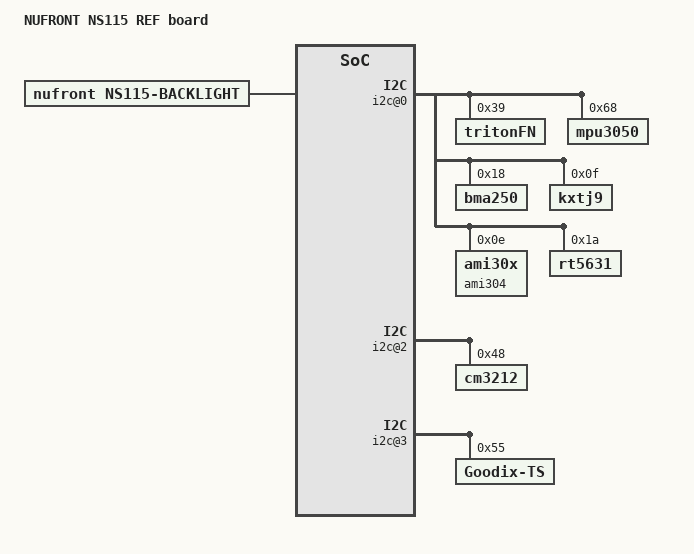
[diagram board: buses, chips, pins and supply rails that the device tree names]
/dts-v1/;


/include/ "nufront.dtsi"
/include/ "nufront-pmic.dtsi"
/ {
	model = "NUFRONT NS115 REF board";
	compatible = "nufront,ns115";

	chosen {
		bootargs = "root=/dev/sda2 rw rootwait mem=776M console=ttyS0,115200 init=/init";
	};

	i2c@0{

		speed = <1>;//standard speed
/*P/L-sensors*/
		tritonFN {

			compatible = "tritonFN";
			interrupts = <36>;
			reg = <0x39>;
		};

/*GROY*/
		mpu3050 {
			compatible = "mpu3050";
			interrupts = <67>;
			reg = <0x68>;
			int_config = <0x10>;
			orientation = <0 0xff 0 1 0 0 0 0 1>;
		};
/*G-ensors*/
		bma250 {
			compatible = "bma250";
			interrupts = <68>;
			reg = <0x18>;
			bus = <0x01>;
			orientation = <1 0 0 0 1 0 0 0 1>;
		};

		kxtj9 {
			compatible = "kxtj9";
			interrupts = <67>;
			reg = <0x0f>;
			min_interval = <5>;
			poll_interval = <20>;
			device_map = <1>;
			res_12bit = <0x40>;
			g_range = <0>;
		};
/*compass*/
	      ami304 {
		      compatible = "ami30x";
		      interrupts = <66>;
		      reg = <0x0e>;
		};

/*AudioCodec rt5631*/
		rt5631 {
			compatible = "rt5631";
			reg = <0x1a>;
			mute_amp{
				compatible	= "nufront,ns115-mute-amp";
				gpio_num = <63>;
			};
		};


	};

	i2c@1 {
		speed = <1>;
	};

	i2c@2 {
		speed = <1>;
		cm3212 {
			compatible = "cm3212";
			reg = <0x48>;
		};
	};

	i2c@3 {

		speed = <2>;//fast speed
		Goodix-TS{
				compatible = "Goodix-TS";
				interrupts = <48>;
				reset_gpio = <49>;
				reg = <0x55>;
			};

/*
		ft5x0x_ts{
				compatible = "ft5x0x_ts";
				interrupts = <48>;
				reset_gpio = <49>;
				reg = <0x38>;
			  };
*/
	};

	sdmmc@0 {
		slot@0{
			freq           = <25000000>;
		};
		slot@1{
			freq           = <25000000>;
		};
		slot@2{
			freq           = <25000000>;
		};
	};

	bluetooth{
		compatible	= "nufront,nw53_bt_power";
		interrupts	= <38>;
		reg		= <0x0 0x0>;
		ap_wake		= <6>;
		bt_wake		= <54>;
		reset_gpio	= <53>;
		shutdown_gpio	= <63>;
		rfkill_name	= "rfkill_gpio";
		exist		= "true";
	};

	camera@0{
		sensor_name	= "gc0329";
		i2c_addr	= <0x31>;
		bus_id		= <0>;
		i2c_adapter_id  = <1>;
		regulators	= "vdd_cam0_io_1v8";
		num_regulators	= <1>;
		power_on	= <107 0>;
		reset		= <106 1>;
		i2c_connect	= <94 1>;
		clk_id		= "ns115_alt0";
		clk_rate	= <24000000>;
	};
	camera@1{
		sensor_name	= "ov5640";
		i2c_addr	= <0x3c>;
		bus_id		= <0>;
		i2c_adapter_id  = <1>;
		regulators	= "vdd_cam1_io_1v8";
		num_regulators	= <1>;
		power_on	= <109 0>;
		reset		= <108 1>;
		i2c_connect	= <94 1>;
		clk_id		= "ns115_alt0";
		clk_rate	= <24000000>;
		test		= "test for ov5640";
	};

	timed-gpio {
		compatible  = "nufront,timed-gpio";
		vibrator {
			name = "vibrator";
			gpio = <35>;
			max_timeout = <5000000>;
			active_low  = <0>;
		};
	};

	backlight{
		compatible	= "nufront,ns115-backlight";
		default_intensity=<6>;
	};

	gpio-keys{
		compatible	= "nufront,ns115-gpio-keys";
		keys_count	= <2>;
		key_code_1	= <114>;/*volumn down*/
		key_code_2	= <115>;/*volumn up*/
		key_gpio_1	= <26 0>;/*vol up gpio*/
		key_gpio_2	= <28 0>;/*vol down gpio*/
	};


	pinmux{
		compatible	= "nufront,ns115-pinmux";
		setting_table	= <0xaa000000 0x0 0x1000000 0x14000 0x0 0x6aaa9100 0x14141 0x22a010 0x0 0x0>;
	};



//android config option
	hdmi{
		dual_display = "true";
	};


	android{
		usb_ethernet_support	= "true";
		setting{
			gps			= "true";
			wifi			= "true";
			wifi_sleep_policy	= "1";
			screen_timeout		= "30000";
			battery_info		= "true";
			gesture			= "flase";
			speak_password		= "false";
			fix_direction		= "false";
			keep_srceen_on		= "false";
		};
		policy{
			fix_direction	= "true";
		};
		systemui{
			shutdown_btn	= "true";
			voice_btn	= "true";
			screencap_btn	= "true";
			screen_scale	= "true";
		};
		antutu{
			exist = "true";
		};
	};
	sensor{
		acceleromer="kionix";
		lightsensor="cm3602";
		compass="ami304";
	};
};
